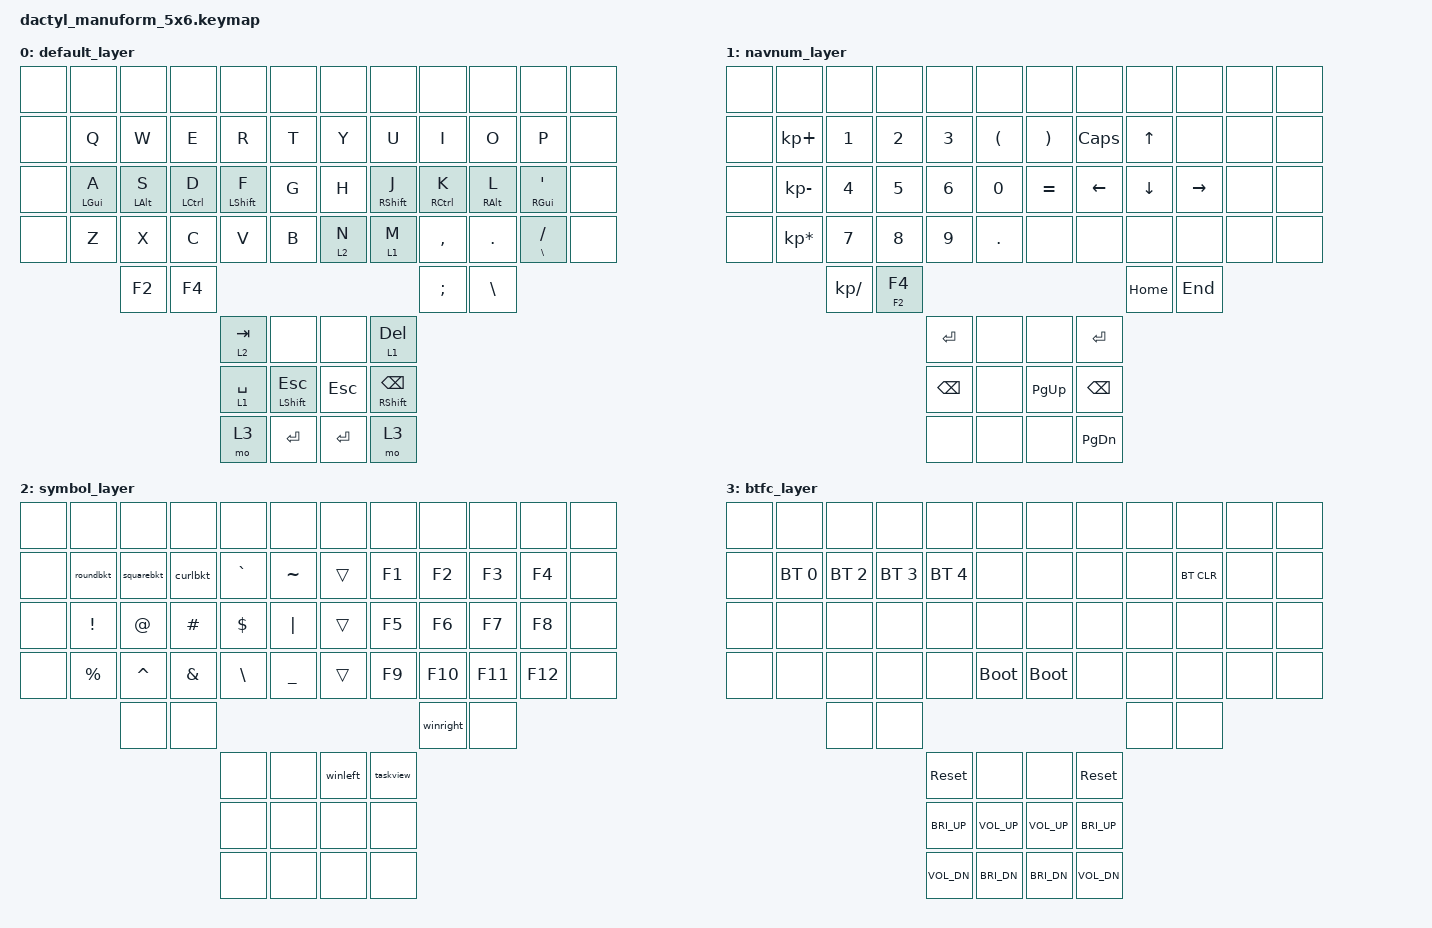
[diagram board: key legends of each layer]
#include <behaviors.dtsi>
#include <dt-bindings/zmk/keys.h>
#include <dt-bindings/zmk/bt.h>
#include <dt-bindings/zmk/outputs.h>

/ {
behaviors {

      macros {
         roundbkt: round_brackets {
            label= "round_brackets";
            compatible = "zmk,behavior-macro";
            #binding-cells = <0>;
            bindings
                = <&macro_tap &kp LPAR &kp RPAR>;
         };
         
         squarebkt: square_brackets {
            label= "square_brackets";
            compatible = "zmk,behavior-macro";
            #binding-cells = <0>;
            bindings
                = <&macro_tap &kp LBKT &kp RBKT>;
         };
         
         curlbkt: curl_brackets {
            label= "curl_brackets";
            compatible = "zmk,behavior-macro";
            #binding-cells = <0>;
            bindings
                = <&macro_tap &kp LBRC &kp RBRC>;
         };
        
         apostrophe: apostrophe {
            label= "apostrophe";
            compatible = "zmk,behavior-macro";
            #binding-cells = <0>;
            bindings
                = <&macro_tap &kp DQT &kp DQT>;
         };
        
         winleft: winleft {
            label= "winleft";
            compatible = "zmk,behavior-macro";
            #binding-cells = <0>;
            bindings
                = <&macro_press &kp LGUI &kp LCTRL>, 
                <&macro_tap &kp LEFT>,
                <&macro_release &kp LGUI &kp LCTRL>;
         };
        
         winright: winright {
            label= "winright";
            compatible = "zmk,behavior-macro";
            #binding-cells = <0>;
            bindings
                = <&macro_press &kp LGUI &kp LCTRL>, 
                <&macro_tap &kp RIGHT>,
                <&macro_release &kp LGUI &kp LCTRL>;
         };
        
         taskview: taskview {
            label= "taskview";
            compatible = "zmk,behavior-macro";
            #binding-cells = <0>;
            bindings
                = <&macro_press &kp LGUI>, 
                <&macro_tap &kp TAB>,
                <&macro_release &kp LGUI>;
         };
      };
      
hm: homerow_mods {
        compatible = "zmk,behavior-hold-tap";
        label = "HOMEROW_MODS";
        #binding-cells = <2>;
        tapping_term_ms = <150>;
        flavor = "tap-preferred";
        bindings = <&kp>, <&kp>;
    };
};

    keymap {
        compatible = "zmk,keymap";
        
// -----------------------------------------------------------------------------------------
// | na | na | na | na  | na  | na ||             || na | na  | na  | na | na | na |
// | na | Q  | W  | E   | R   | T  ||             || Y  | U   | I   | O  | P  | na |
// | na | A  | S  | D   | F   | G  ||             || H  | J   | K   | L  | '  | na |
// | na | Z  | X  | C   | V   | B  ||             || N  | M   | ,   | .  | /  | na |
//           | B1 | B2  |          ||             ||          | B3  | B4 |
//                | 1,1 | na  |    ||             ||    | na  | 1,1 |
//                | 1,2 | 1,3 |    ||             ||    | 1,3 | 1,2 |
//                | 2,3 | 2,2 |    ||             ||    | 2,2 | 2,3 |

default_layer {
    bindings = <
        &none &none      &none      &none       &none       &none          &none        &none         &none       &none      &none         &none
        &none &kp Q      &kp W      &kp E       &kp R       &kp T          &kp Y        &kp U         &kp I       &kp O      &kp P         &none
        &none &hm LGUI A &hm LALT S &hm LCTRL D &hm LSHFT F &kp G          &kp H        &hm RSHFT J   &hm RCTRL K &hm RALT L &hm RGUI SQT  &none
        &none &kp Z      &kp X      &kp C       &kp V       &kp B          &lt 2 N      &lt 1 M       &kp COMMA   &kp DOT    &hm BSLH FSLH &none
                         &kp F2     &kp F4                                                            &kp SEMI    &kp BSLH
                                                &lt 2 TAB   &none          &none        &lt 1 DEL
                                                &lt 1 SPACE &hm LSHFT ESC  &kp ESC      &hm RSHFT BSPC
                                                &mo 3       &kp ENTER      &kp ENTER    &mo 3
    >;
};

navnum_layer {
    bindings = <
        &none  &none           &none         &none     &none  &none                 &none     &none     &none     &none     &none &none
        &none  &kp KP_PLUS     &kp N1        &kp N2    &kp N3 &kp LPAR              &kp RPAR  &kp CAPS  &kp UP    &none     &none &none
        &none  &kp KP_MINUS    &kp N4        &kp N5    &kp N6 &kp N0                &kp EQUAL &kp LEFT  &kp DOWN  &kp RIGHT &none &none
        &none  &kp KP_MULTIPLY &kp N7        &kp N8    &kp N9 &kp DOT               &none     &none     &none     &none     &none &none
                               &kp KP_DIVIDE &hm F2 F4                                                  &kp HOME  &kp END
                                             &kp ENTER &none                                  &none     &kp ENTER
                                             &kp BSPC  &none                                  &kp PG_UP &kp BSPC
                                             &none     &none                                  &none     &kp PG_DN
    >;
};

symbol_layer {
    bindings = <
        &none  &none     &none      &none         &none         &none                 &none    &none  &none     &none   &none   &none
        &none  &roundbkt &squarebkt &curlbkt      &kp GRAVE     &kp TILDE             &trans   &kp F1 &kp F2    &kp F3  &kp F4  &none
        &none  &kp EXCL  &kp AT     &kp HASH      &kp DOLLAR    &kp PIPE              &trans   &kp F5 &kp F6    &kp F7  &kp F8  &none
        &none  &kp PRCNT &kp CARET  &kp AMPERSAND &kp BACKSLASH &kp UNDERSCORE        &trans   &kp F9 &kp F10   &kp F11 &kp F12 &none
                         &none      &none                                                             &winright &none
                                                  &none         &none                 &winleft &taskview
                                                  &none         &none                 &none    &none
                                                  &none         &none                 &none    &none
    >;
};

btfc_layer {
    bindings = <
        &none &none        &none        &none        &none        &none            &none       &none        &none        &none      &none &none
        &none &bt BT_SEL 0 &bt BT_SEL 2 &bt BT_SEL 3 &bt BT_SEL 4 &none            &none       &none        &none        &bt BT_CLR &none &none
        &none &none        &none        &none        &none        &none            &none       &none        &none        &none      &none &none
        &none &none        &none        &none        &none        &bootloader      &bootloader &none        &none        &none      &none &none
                           &none        &none                                                               &none        &none
                                        &sys_reset       &none                                &none         &sys_reset 
                                        &kp C_BRI_UP &kp C_VOL_UP                             &kp C_VOL_UP  &kp C_BRI_UP
                                        &kp C_VOL_DN &kp C_BRI_DN                             &kp C_BRI_DN  &kp C_VOL_DN 
    >;
};
    };
};
